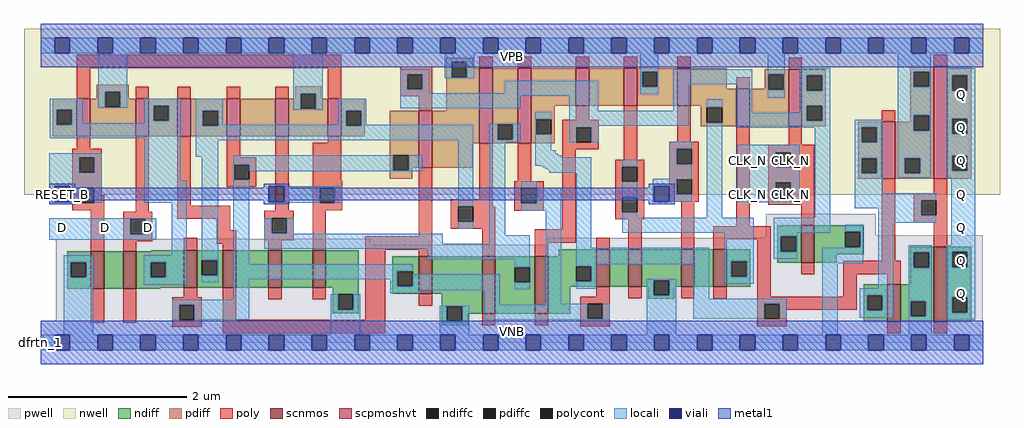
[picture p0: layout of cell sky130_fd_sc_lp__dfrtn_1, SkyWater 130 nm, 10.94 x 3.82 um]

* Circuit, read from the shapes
.subckt sky130_fd_sc_lp__dfrtn_1 CLK_N D RESET_B VGND VNB VPB VPWR Q
XM1 n1 RESET_B VGND VNB sky130_fd_pr__nfet_01v8 w=0.42 l=0.15
XM2 n2 D n1 VNB sky130_fd_pr__nfet_01v8 w=0.42 l=0.15
XM3 n3 n4 n2 VNB sky130_fd_pr__nfet_01v8 w=0.42 l=0.15
XM4 n5 n6 n3 VNB sky130_fd_pr__nfet_01v8 w=0.42 l=0.15
XM5 n7 n8 n5 VNB sky130_fd_pr__nfet_01v8 w=0.42 l=0.15
XM6 VGND RESET_B n7 VNB sky130_fd_pr__nfet_01v8 w=0.42 l=0.15
XM7 VGND n6 n4 VNB sky130_fd_pr__nfet_01v8 w=0.42 l=0.15
XM8 n8 n3 VGND VNB sky130_fd_pr__nfet_01v8 w=0.64 l=0.15
XM9 n9 n6 n8 VNB sky130_fd_pr__nfet_01v8 w=0.64 l=0.15
XM10 n10 n4 n9 VNB sky130_fd_pr__nfet_01v8 w=0.42 l=0.15
XM11 VGND n11 n10 VNB sky130_fd_pr__nfet_01v8 w=0.42 l=0.15
XM12 n12 RESET_B VGND VNB sky130_fd_pr__nfet_01v8 w=0.42 l=0.15
XM13 n11 n9 n12 VNB sky130_fd_pr__nfet_01v8 w=0.42 l=0.15
XM14 VGND CLK_N n6 VNB sky130_fd_pr__nfet_01v8 w=0.42 l=0.15
XM15 VGND n9 n13 VNB sky130_fd_pr__nfet_01v8 w=0.42 l=0.15
XM16 Q n13 VGND VNB sky130_fd_pr__nfet_01v8 w=0.84 l=0.15
XM17 VPWR RESET_B n2 VPB sky130_fd_pr__pfet_01v8_hvt w=0.42 l=0.15
XM18 n2 D VPWR VPB sky130_fd_pr__pfet_01v8_hvt w=0.42 l=0.15
XM19 n3 n6 n2 VPB sky130_fd_pr__pfet_01v8_hvt w=0.42 l=0.15
XM20 n14 n4 n3 VPB sky130_fd_pr__pfet_01v8_hvt w=0.42 l=0.15
XM21 VPWR n8 n14 VPB sky130_fd_pr__pfet_01v8_hvt w=0.42 l=0.15
XM22 n3 RESET_B VPWR VPB sky130_fd_pr__pfet_01v8_hvt w=0.42 l=0.15
XM23 VPWR n6 n4 VPB sky130_fd_pr__pfet_01v8_hvt w=0.64 l=0.15
XM24 n8 n3 VPWR VPB sky130_fd_pr__pfet_01v8_hvt w=0.84 l=0.15
XM25 n9 n4 n8 VPB sky130_fd_pr__pfet_01v8_hvt w=0.84 l=0.15
XM26 n15 n6 n9 VPB sky130_fd_pr__pfet_01v8_hvt w=0.42 l=0.15
XM27 VPWR n11 n15 VPB sky130_fd_pr__pfet_01v8_hvt w=0.42 l=0.15
XM28 n11 RESET_B VPWR VPB sky130_fd_pr__pfet_01v8_hvt w=0.42 l=0.15
XM29 VPWR n9 n11 VPB sky130_fd_pr__pfet_01v8_hvt w=0.42 l=0.15
XM30 n6 CLK_N VPWR VPB sky130_fd_pr__pfet_01v8_hvt w=0.64 l=0.15
XM31 VPWR n9 n13 VPB sky130_fd_pr__pfet_01v8_hvt w=0.64 l=0.15
XM32 Q n13 VPWR VPB sky130_fd_pr__pfet_01v8_hvt w=1.26 l=0.15
.ends

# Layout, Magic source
magic
tech sky130A
magscale 1 2
<< nwell >>
rect -38 331 2150 704
<< pwell >>
rect 1625 241 1871 289
rect 1625 235 2111 241
rect 221 231 738 233
rect 33 219 738 231
rect 1135 219 2111 235
rect 33 49 2111 219
rect 0 0 2112 49
<< scnmos >>
rect 112 121 142 205
rect 184 121 214 205
rect 320 123 350 207
rect 408 123 438 207
rect 510 123 540 207
rect 609 123 639 207
rect 847 109 877 193
rect 989 65 1019 193
rect 1107 65 1137 193
rect 1245 125 1275 209
rect 1317 125 1347 209
rect 1435 125 1465 209
rect 1507 125 1537 209
rect 1704 179 1734 263
rect 1897 47 1927 131
rect 2002 47 2032 215
<< scpmoshvt >>
rect 80 463 110 547
rect 212 463 242 547
rect 306 463 336 547
rect 417 463 447 547
rect 525 463 555 547
rect 643 463 673 547
rect 847 392 877 520
rect 983 447 1013 615
rect 1069 447 1099 615
rect 1199 531 1229 615
rect 1307 531 1337 615
rect 1427 531 1457 615
rect 1559 485 1589 569
rect 1676 485 1706 613
rect 1885 367 1915 495
rect 2002 367 2032 619
<< ndiff >>
rect 247 205 320 207
rect 59 180 112 205
rect 59 146 67 180
rect 101 146 112 180
rect 59 121 112 146
rect 142 121 184 205
rect 214 180 320 205
rect 214 146 246 180
rect 280 146 320 180
rect 214 123 320 146
rect 350 185 408 207
rect 350 151 361 185
rect 395 151 408 185
rect 350 123 408 151
rect 438 123 510 207
rect 540 123 609 207
rect 639 123 712 207
rect 214 121 267 123
rect 654 108 712 123
rect 654 74 666 108
rect 700 74 712 108
rect 654 66 712 74
rect 1161 193 1245 209
rect 787 160 847 193
rect 787 126 799 160
rect 833 126 847 160
rect 787 109 847 126
rect 877 109 989 193
rect 898 81 989 109
rect 898 47 910 81
rect 944 65 989 81
rect 1019 169 1107 193
rect 1019 135 1062 169
rect 1096 135 1107 169
rect 1019 65 1107 135
rect 1137 171 1245 193
rect 1137 137 1200 171
rect 1234 137 1245 171
rect 1137 125 1245 137
rect 1275 125 1317 209
rect 1347 140 1435 209
rect 1347 125 1374 140
rect 1137 65 1187 125
rect 1362 106 1374 125
rect 1408 125 1435 140
rect 1465 125 1507 209
rect 1537 182 1590 209
rect 1537 148 1548 182
rect 1582 148 1590 182
rect 1537 125 1590 148
rect 1408 106 1420 125
rect 1362 98 1420 106
rect 1651 238 1704 263
rect 1651 204 1659 238
rect 1693 204 1704 238
rect 1651 179 1704 204
rect 1734 248 1845 263
rect 1734 214 1803 248
rect 1837 214 1845 248
rect 1734 198 1845 214
rect 1734 179 1784 198
rect 1949 202 2002 215
rect 1949 168 1957 202
rect 1991 168 2002 202
rect 1949 131 2002 168
rect 944 47 958 65
rect 898 39 958 47
rect 1844 106 1897 131
rect 1844 72 1852 106
rect 1886 72 1897 106
rect 1844 47 1897 72
rect 1927 93 2002 131
rect 1927 59 1950 93
rect 1984 59 2002 93
rect 1927 47 2002 59
rect 2032 203 2085 215
rect 2032 169 2043 203
rect 2077 169 2085 203
rect 2032 101 2085 169
rect 2032 67 2043 101
rect 2077 67 2085 101
rect 2032 47 2085 67
<< pdiff >>
rect 909 629 968 639
rect 125 562 197 578
rect 125 547 144 562
rect 27 522 80 547
rect 27 488 35 522
rect 69 488 80 522
rect 27 463 80 488
rect 110 528 144 547
rect 178 547 197 562
rect 570 558 628 574
rect 570 547 582 558
rect 178 528 212 547
rect 110 463 212 528
rect 242 531 306 547
rect 242 497 253 531
rect 287 497 306 531
rect 242 463 306 497
rect 336 520 417 547
rect 336 486 363 520
rect 397 486 417 520
rect 336 463 417 486
rect 447 463 525 547
rect 555 524 582 547
rect 616 547 628 558
rect 616 524 643 547
rect 555 463 643 524
rect 673 520 726 547
rect 909 595 921 629
rect 955 615 968 629
rect 955 595 983 615
rect 909 520 983 595
rect 673 486 684 520
rect 718 486 726 520
rect 673 463 726 486
rect 782 420 847 520
rect 782 386 790 420
rect 824 392 847 420
rect 877 447 983 520
rect 1013 489 1069 615
rect 1013 455 1024 489
rect 1058 455 1069 489
rect 1013 447 1069 455
rect 1099 531 1199 615
rect 1229 531 1307 615
rect 1337 607 1427 615
rect 1337 573 1348 607
rect 1382 573 1427 607
rect 1337 531 1427 573
rect 1457 569 1537 615
rect 1623 601 1676 613
rect 1623 569 1631 601
rect 1457 531 1559 569
rect 1099 501 1152 531
rect 1099 467 1110 501
rect 1144 467 1152 501
rect 1099 447 1152 467
rect 877 392 968 447
rect 824 386 832 392
rect 782 367 832 386
rect 1479 527 1559 531
rect 1479 493 1493 527
rect 1527 493 1559 527
rect 1479 485 1559 493
rect 1589 567 1631 569
rect 1665 567 1676 601
rect 1589 485 1676 567
rect 1706 599 1759 613
rect 1706 565 1717 599
rect 1751 565 1759 599
rect 1706 531 1759 565
rect 1706 497 1717 531
rect 1751 497 1759 531
rect 1949 607 2002 619
rect 1949 573 1957 607
rect 1991 573 2002 607
rect 1706 485 1759 497
rect 1949 509 2002 573
rect 1949 495 1957 509
rect 1832 483 1885 495
rect 1832 449 1840 483
rect 1874 449 1885 483
rect 1832 413 1885 449
rect 1832 379 1840 413
rect 1874 379 1885 413
rect 1832 367 1885 379
rect 1915 475 1957 495
rect 1991 475 2002 509
rect 1915 413 2002 475
rect 1915 379 1937 413
rect 1971 379 2002 413
rect 1915 367 2002 379
rect 2032 599 2085 619
rect 2032 565 2043 599
rect 2077 565 2085 599
rect 2032 502 2085 565
rect 2032 468 2043 502
rect 2077 468 2085 502
rect 2032 419 2085 468
rect 2032 385 2043 419
rect 2077 385 2085 419
rect 2032 367 2085 385
<< ndiffc >>
rect 67 146 101 180
rect 246 146 280 180
rect 361 151 395 185
rect 666 74 700 108
rect 799 126 833 160
rect 910 47 944 81
rect 1062 135 1096 169
rect 1200 137 1234 171
rect 1374 106 1408 140
rect 1548 148 1582 182
rect 1659 204 1693 238
rect 1803 214 1837 248
rect 1957 168 1991 202
rect 1852 72 1886 106
rect 1950 59 1984 93
rect 2043 169 2077 203
rect 2043 67 2077 101
<< pdiffc >>
rect 35 488 69 522
rect 144 528 178 562
rect 253 497 287 531
rect 363 486 397 520
rect 582 524 616 558
rect 921 595 955 629
rect 684 486 718 520
rect 790 386 824 420
rect 1024 455 1058 489
rect 1348 573 1382 607
rect 1110 467 1144 501
rect 1493 493 1527 527
rect 1631 567 1665 601
rect 1717 565 1751 599
rect 1717 497 1751 531
rect 1957 573 1991 607
rect 1840 449 1874 483
rect 1840 379 1874 413
rect 1957 475 1991 509
rect 1937 379 1971 413
rect 2043 565 2077 599
rect 2043 468 2077 502
rect 2043 385 2077 419
<< poly >>
rect 80 615 673 645
rect 80 547 110 615
rect 212 547 242 573
rect 306 547 336 573
rect 417 547 447 573
rect 525 547 555 573
rect 643 547 673 615
rect 805 602 877 618
rect 805 568 821 602
rect 855 568 877 602
rect 805 552 877 568
rect 847 520 877 552
rect 983 615 1013 641
rect 1069 615 1099 641
rect 1199 615 1229 641
rect 1307 615 1337 641
rect 1427 615 1457 641
rect 80 434 110 463
rect 70 415 136 434
rect 70 381 86 415
rect 120 381 136 415
rect 70 347 136 381
rect 70 313 86 347
rect 120 330 136 347
rect 120 313 142 330
rect 70 297 142 313
rect 112 205 142 297
rect 212 293 242 463
rect 306 307 336 463
rect 417 415 447 463
rect 417 399 483 415
rect 417 365 433 399
rect 467 365 483 399
rect 417 349 483 365
rect 184 277 250 293
rect 306 277 424 307
rect 525 295 555 463
rect 643 448 673 463
rect 609 363 673 448
rect 1676 613 1706 639
rect 2002 619 2032 645
rect 1559 569 1589 595
rect 1199 499 1229 531
rect 1169 483 1250 499
rect 1169 449 1200 483
rect 1234 449 1250 483
rect 609 347 675 363
rect 609 313 625 347
rect 659 313 675 347
rect 609 297 675 313
rect 184 243 200 277
rect 234 243 250 277
rect 184 227 250 243
rect 394 252 424 277
rect 501 279 567 295
rect 184 205 214 227
rect 320 207 350 235
rect 394 222 438 252
rect 501 245 517 279
rect 551 245 567 279
rect 501 229 567 245
rect 408 207 438 222
rect 510 207 540 229
rect 609 207 639 297
rect 847 238 877 392
rect 983 321 1013 447
rect 1069 362 1099 447
rect 1169 433 1250 449
rect 919 305 1013 321
rect 919 271 935 305
rect 969 304 1013 305
rect 1061 346 1127 362
rect 1061 312 1077 346
rect 1111 312 1127 346
rect 969 271 1019 304
rect 1061 296 1127 312
rect 919 255 1019 271
rect 727 208 877 238
rect 112 44 142 121
rect 184 44 214 121
rect 320 101 350 123
rect 294 85 360 101
rect 294 51 310 85
rect 344 51 360 85
rect 294 35 360 51
rect 408 51 438 123
rect 510 97 540 123
rect 609 97 639 123
rect 727 51 772 208
rect 847 193 877 208
rect 989 193 1019 255
rect 1169 254 1199 433
rect 1307 410 1337 531
rect 1427 450 1457 531
rect 1885 495 1915 521
rect 1409 434 1475 450
rect 1287 394 1353 410
rect 1287 360 1303 394
rect 1337 360 1353 394
rect 1287 326 1353 360
rect 1287 292 1303 326
rect 1337 292 1353 326
rect 1409 400 1425 434
rect 1459 400 1475 434
rect 1409 366 1475 400
rect 1409 332 1425 366
rect 1459 332 1475 366
rect 1409 316 1475 332
rect 1287 276 1353 292
rect 1107 224 1199 254
rect 1107 193 1137 224
rect 1245 209 1275 235
rect 1317 209 1347 276
rect 1435 209 1465 316
rect 1559 261 1589 485
rect 1676 443 1706 485
rect 1631 427 1734 443
rect 1631 393 1647 427
rect 1681 393 1734 427
rect 1631 359 1734 393
rect 1631 325 1647 359
rect 1681 325 1734 359
rect 1631 309 1734 325
rect 1704 263 1734 309
rect 1507 231 1636 261
rect 1507 209 1537 231
rect 847 83 877 109
rect 408 21 772 51
rect 1245 103 1275 125
rect 1209 87 1275 103
rect 1317 99 1347 125
rect 1435 99 1465 125
rect 1507 99 1537 125
rect 1606 103 1636 231
rect 1885 183 1915 367
rect 2002 335 2032 367
rect 1957 319 2032 335
rect 1957 285 1973 319
rect 2007 285 2032 319
rect 1957 269 2032 285
rect 2002 215 2032 269
rect 1704 153 1734 179
rect 1799 153 1927 183
rect 1799 103 1829 153
rect 1897 131 1927 153
rect 989 39 1019 65
rect 1107 39 1137 65
rect 1209 53 1225 87
rect 1259 53 1275 87
rect 1209 37 1275 53
rect 1606 87 1829 103
rect 1606 53 1622 87
rect 1656 73 1829 87
rect 1656 53 1672 73
rect 1606 37 1672 53
rect 1897 21 1927 47
rect 2002 21 2032 47
<< polycont >>
rect 821 568 855 602
rect 86 381 120 415
rect 86 313 120 347
rect 433 365 467 399
rect 1200 449 1234 483
rect 625 313 659 347
rect 200 243 234 277
rect 517 245 551 279
rect 935 271 969 305
rect 1077 312 1111 346
rect 310 51 344 85
rect 1303 360 1337 394
rect 1303 292 1337 326
rect 1425 400 1459 434
rect 1425 332 1459 366
rect 1647 393 1681 427
rect 1647 325 1681 359
rect 1973 285 2007 319
rect 1225 53 1259 87
rect 1622 53 1656 87
<< locali >>
rect 0 649 31 683
rect 65 649 127 683
rect 161 649 223 683
rect 257 649 319 683
rect 353 649 415 683
rect 449 649 511 683
rect 545 649 607 683
rect 641 649 703 683
rect 737 649 799 683
rect 833 649 895 683
rect 929 649 991 683
rect 1025 649 1087 683
rect 1121 649 1183 683
rect 1217 649 1279 683
rect 1313 649 1375 683
rect 1409 649 1471 683
rect 1505 649 1567 683
rect 1601 649 1663 683
rect 1697 649 1759 683
rect 1793 649 1855 683
rect 1889 649 1951 683
rect 1985 649 2047 683
rect 2081 649 2112 683
rect 128 562 194 649
rect 20 522 94 547
rect 128 528 144 562
rect 178 528 194 562
rect 566 558 632 649
rect 905 629 971 649
rect 128 526 194 528
rect 232 531 313 547
rect 20 488 35 522
rect 69 492 94 522
rect 232 497 253 531
rect 287 497 313 531
rect 232 492 313 497
rect 69 488 313 492
rect 20 458 313 488
rect 19 415 136 424
rect 19 381 86 415
rect 120 381 136 415
rect 19 350 136 381
rect 19 316 31 350
rect 65 347 136 350
rect 65 316 86 347
rect 19 313 86 316
rect 120 313 136 347
rect 232 364 313 458
rect 347 520 408 547
rect 566 524 582 558
rect 616 524 632 558
rect 805 602 871 613
rect 805 568 821 602
rect 855 568 871 602
rect 905 595 921 629
rect 955 595 971 629
rect 905 593 971 595
rect 1344 607 1384 649
rect 805 559 871 568
rect 1040 559 1249 587
rect 805 553 1249 559
rect 1344 573 1348 607
rect 1382 573 1384 607
rect 1344 557 1384 573
rect 1418 579 1595 613
rect 566 522 632 524
rect 347 486 363 520
rect 397 488 408 520
rect 666 520 729 547
rect 805 525 1074 553
rect 666 488 684 520
rect 397 486 684 488
rect 718 488 729 520
rect 1184 520 1249 553
rect 1418 520 1452 579
rect 1108 501 1144 517
rect 1005 489 1074 491
rect 718 486 969 488
rect 347 454 969 486
rect 347 417 397 454
rect 232 313 327 364
rect 19 277 259 279
rect 19 243 200 277
rect 234 243 259 277
rect 19 230 259 243
rect 293 196 327 313
rect 51 180 117 196
rect 51 146 67 180
rect 101 146 117 180
rect 51 17 117 146
rect 230 180 327 196
rect 230 146 246 180
rect 280 146 327 180
rect 230 130 327 146
rect 361 185 397 417
rect 395 151 397 185
rect 361 135 397 151
rect 431 399 790 420
rect 431 365 433 399
rect 467 386 790 399
rect 824 386 855 420
rect 467 384 855 386
rect 431 176 467 365
rect 545 347 675 350
rect 545 316 625 347
rect 511 313 625 316
rect 659 313 675 347
rect 935 305 969 454
rect 501 245 517 279
rect 551 245 567 279
rect 935 255 969 271
rect 1005 455 1024 489
rect 1058 455 1074 489
rect 1005 449 1074 455
rect 1108 467 1110 501
rect 501 244 567 245
rect 501 221 901 244
rect 1005 241 1041 449
rect 1108 431 1144 467
rect 1184 486 1452 520
rect 1493 527 1527 545
rect 1184 483 1250 486
rect 1184 449 1200 483
rect 1234 449 1250 483
rect 1409 434 1459 450
rect 1108 423 1154 431
rect 1108 420 1160 423
rect 1108 415 1166 420
rect 1108 396 1234 415
rect 1122 395 1234 396
rect 1125 393 1234 395
rect 1128 392 1234 393
rect 1131 390 1234 392
rect 1136 387 1234 390
rect 1140 381 1234 387
rect 1077 347 1111 362
rect 1077 346 1166 347
rect 1111 312 1166 346
rect 1077 296 1166 312
rect 1005 221 1096 241
rect 501 210 1096 221
rect 867 187 1096 210
rect 431 160 833 176
rect 431 142 799 160
rect 431 96 467 142
rect 783 126 799 142
rect 1062 169 1096 187
rect 833 126 1028 153
rect 783 117 1028 126
rect 1062 119 1096 135
rect 783 110 849 117
rect 294 85 467 96
rect 294 51 310 85
rect 344 51 467 85
rect 650 74 666 108
rect 700 74 716 108
rect 994 85 1028 117
rect 1132 87 1166 296
rect 1200 212 1234 381
rect 1303 394 1337 410
rect 1409 400 1425 434
rect 1409 367 1459 400
rect 1303 326 1337 360
rect 1371 366 1459 367
rect 1371 350 1425 366
rect 1371 316 1375 350
rect 1409 332 1425 350
rect 1409 316 1459 332
rect 1303 280 1337 292
rect 1493 280 1527 493
rect 1561 515 1595 579
rect 1629 601 1667 649
rect 1629 567 1631 601
rect 1665 567 1667 601
rect 1629 549 1667 567
rect 1701 599 1769 615
rect 1701 565 1717 599
rect 1751 565 1769 599
rect 1701 531 1769 565
rect 1701 515 1717 531
rect 1561 497 1717 515
rect 1751 497 1769 531
rect 1921 607 1995 649
rect 1921 573 1957 607
rect 1991 573 1995 607
rect 1921 509 1995 573
rect 1561 481 1769 497
rect 1561 427 1701 443
rect 1561 393 1647 427
rect 1681 393 1701 427
rect 1561 359 1701 393
rect 1561 325 1647 359
rect 1681 325 1701 359
rect 1561 314 1701 325
rect 1735 280 1769 481
rect 1824 483 1887 499
rect 1824 449 1840 483
rect 1874 449 1887 483
rect 1824 413 1887 449
rect 1824 379 1840 413
rect 1874 379 1887 413
rect 1824 335 1887 379
rect 1921 475 1957 509
rect 1991 475 1995 509
rect 1921 413 1995 475
rect 1921 379 1937 413
rect 1971 379 1995 413
rect 1921 369 1995 379
rect 2029 599 2095 615
rect 2029 565 2043 599
rect 2077 565 2095 599
rect 2029 502 2095 565
rect 2029 468 2043 502
rect 2077 468 2095 502
rect 2029 419 2095 468
rect 2029 385 2043 419
rect 2077 385 2095 419
rect 2029 369 2095 385
rect 1824 319 2007 335
rect 1824 301 1973 319
rect 1303 246 1598 280
rect 1200 176 1498 212
rect 1200 171 1245 176
rect 1234 137 1245 171
rect 1200 121 1245 137
rect 1358 140 1424 142
rect 1358 106 1374 140
rect 1408 106 1424 140
rect 1132 85 1225 87
rect 650 17 716 74
rect 894 81 960 83
rect 894 47 910 81
rect 944 47 960 81
rect 994 53 1225 85
rect 1259 53 1275 87
rect 994 51 1275 53
rect 894 17 960 47
rect 1358 17 1424 106
rect 1462 98 1498 176
rect 1532 182 1598 246
rect 1643 246 1769 280
rect 1877 285 1973 301
rect 1877 269 2007 285
rect 1803 248 1843 264
rect 1643 238 1695 246
rect 1643 204 1659 238
rect 1693 204 1695 238
rect 1837 214 1843 248
rect 1803 212 1843 214
rect 1643 188 1695 204
rect 1532 148 1548 182
rect 1582 148 1598 182
rect 1532 132 1598 148
rect 1752 178 1843 212
rect 1462 87 1672 98
rect 1462 53 1622 87
rect 1656 53 1672 87
rect 1752 17 1786 178
rect 1877 122 1911 269
rect 2041 218 2095 369
rect 1836 106 1911 122
rect 1836 72 1852 106
rect 1886 72 1911 106
rect 1836 56 1911 72
rect 1945 202 1997 218
rect 1945 168 1957 202
rect 1991 168 1997 202
rect 1945 93 1997 168
rect 1945 59 1950 93
rect 1984 59 1997 93
rect 1945 17 1997 59
rect 2031 203 2095 218
rect 2031 169 2043 203
rect 2077 169 2095 203
rect 2031 101 2095 169
rect 2031 67 2043 101
rect 2077 67 2095 101
rect 2031 51 2095 67
rect 0 -17 31 17
rect 65 -17 127 17
rect 161 -17 223 17
rect 257 -17 319 17
rect 353 -17 415 17
rect 449 -17 511 17
rect 545 -17 607 17
rect 641 -17 703 17
rect 737 -17 799 17
rect 833 -17 895 17
rect 929 -17 991 17
rect 1025 -17 1087 17
rect 1121 -17 1183 17
rect 1217 -17 1279 17
rect 1313 -17 1375 17
rect 1409 -17 1471 17
rect 1505 -17 1567 17
rect 1601 -17 1663 17
rect 1697 -17 1759 17
rect 1793 -17 1855 17
rect 1889 -17 1951 17
rect 1985 -17 2047 17
rect 2081 -17 2112 17
<< viali >>
rect 31 649 65 683
rect 127 649 161 683
rect 223 649 257 683
rect 319 649 353 683
rect 415 649 449 683
rect 511 649 545 683
rect 607 649 641 683
rect 703 649 737 683
rect 799 649 833 683
rect 895 649 929 683
rect 991 649 1025 683
rect 1087 649 1121 683
rect 1183 649 1217 683
rect 1279 649 1313 683
rect 1375 649 1409 683
rect 1471 649 1505 683
rect 1567 649 1601 683
rect 1663 649 1697 683
rect 1759 649 1793 683
rect 1855 649 1889 683
rect 1951 649 1985 683
rect 2047 649 2081 683
rect 31 316 65 350
rect 511 316 545 350
rect 1375 316 1409 350
rect 31 -17 65 17
rect 127 -17 161 17
rect 223 -17 257 17
rect 319 -17 353 17
rect 415 -17 449 17
rect 511 -17 545 17
rect 607 -17 641 17
rect 703 -17 737 17
rect 799 -17 833 17
rect 895 -17 929 17
rect 991 -17 1025 17
rect 1087 -17 1121 17
rect 1183 -17 1217 17
rect 1279 -17 1313 17
rect 1375 -17 1409 17
rect 1471 -17 1505 17
rect 1567 -17 1601 17
rect 1663 -17 1697 17
rect 1759 -17 1793 17
rect 1855 -17 1889 17
rect 1951 -17 1985 17
rect 2047 -17 2081 17
<< metal1 >>
rect 0 683 2112 715
rect 0 649 31 683
rect 65 649 127 683
rect 161 649 223 683
rect 257 649 319 683
rect 353 649 415 683
rect 449 649 511 683
rect 545 649 607 683
rect 641 649 703 683
rect 737 649 799 683
rect 833 649 895 683
rect 929 649 991 683
rect 1025 649 1087 683
rect 1121 649 1183 683
rect 1217 649 1279 683
rect 1313 649 1375 683
rect 1409 649 1471 683
rect 1505 649 1567 683
rect 1601 649 1663 683
rect 1697 649 1759 683
rect 1793 649 1855 683
rect 1889 649 1951 683
rect 1985 649 2047 683
rect 2081 649 2112 683
rect 0 617 2112 649
rect 19 350 77 356
rect 19 316 31 350
rect 65 347 77 350
rect 499 350 557 356
rect 499 347 511 350
rect 65 319 511 347
rect 65 316 77 319
rect 19 310 77 316
rect 499 316 511 319
rect 545 347 557 350
rect 1363 350 1421 356
rect 1363 347 1375 350
rect 545 319 1375 347
rect 545 316 557 319
rect 499 310 557 316
rect 1363 316 1375 319
rect 1409 316 1421 350
rect 1363 310 1421 316
rect 0 17 2112 49
rect 0 -17 31 17
rect 65 -17 127 17
rect 161 -17 223 17
rect 257 -17 319 17
rect 353 -17 415 17
rect 449 -17 511 17
rect 545 -17 607 17
rect 641 -17 703 17
rect 737 -17 799 17
rect 833 -17 895 17
rect 929 -17 991 17
rect 1025 -17 1087 17
rect 1121 -17 1183 17
rect 1217 -17 1279 17
rect 1313 -17 1375 17
rect 1409 -17 1471 17
rect 1505 -17 1567 17
rect 1601 -17 1663 17
rect 1697 -17 1759 17
rect 1793 -17 1855 17
rect 1889 -17 1951 17
rect 1985 -17 2047 17
rect 2081 -17 2112 17
rect 0 -49 2112 -17
<< labels >>
flabel pwell s 0 0 2112 49 0 FreeSans 200 0 0 0 VNB
port 5 nsew ground bidirectional
flabel nwell s 0 617 2112 666 0 FreeSans 200 0 0 0 VPB
port 6 nsew power bidirectional
rlabel comment s 0 0 0 0 4 dfrtn_1
flabel metal1 s 31 316 65 350 0 FreeSans 200 0 0 0 RESET_B
port 3 nsew signal input
flabel metal1 s 0 617 2112 666 0 FreeSans 340 0 0 0 VPWR
port 7 nsew power bidirectional
flabel metal1 s 0 0 2112 49 0 FreeSans 340 0 0 0 VGND
port 4 nsew ground bidirectional
flabel locali s 1567 316 1601 350 0 FreeSans 340 0 0 0 CLK_N
port 1 nsew clock input
flabel locali s 1567 390 1601 424 0 FreeSans 340 0 0 0 CLK_N
port 1 nsew clock input
flabel locali s 1663 390 1697 424 0 FreeSans 340 0 0 0 CLK_N
port 1 nsew clock input
flabel locali s 2047 94 2081 128 0 FreeSans 340 0 0 0 Q
port 8 nsew signal output
flabel locali s 2047 168 2081 202 0 FreeSans 340 0 0 0 Q
port 8 nsew signal output
flabel locali s 2047 242 2081 276 0 FreeSans 340 0 0 0 Q
port 8 nsew signal output
flabel locali s 2047 316 2081 350 0 FreeSans 340 0 0 0 Q
port 8 nsew signal output
flabel locali s 2047 390 2081 424 0 FreeSans 340 0 0 0 Q
port 8 nsew signal output
flabel locali s 2047 464 2081 498 0 FreeSans 340 0 0 0 Q
port 8 nsew signal output
flabel locali s 2047 538 2081 572 0 FreeSans 340 0 0 0 Q
port 8 nsew signal output
flabel locali s 31 242 65 276 0 FreeSans 340 0 0 0 D
port 2 nsew signal input
flabel locali s 127 242 161 276 0 FreeSans 340 0 0 0 D
port 2 nsew signal input
flabel locali s 223 242 257 276 0 FreeSans 340 0 0 0 D
port 2 nsew signal input
flabel locali s 1663 316 1697 350 0 FreeSans 340 0 0 0 CLK_N
port 1 nsew clock input
<< properties >>
string LEFsite unit
string LEFclass CORE
string FIXED_BBOX 0 0 2112 666
string GDS_FILE $PDKPATH/libs.ref/sky130_fd_sc_lp/gds/sky130_fd_sc_lp.gds
string LEFsymmetry R90
string GDS_END 6425384
string GDS_START 6408722
<< end >>
